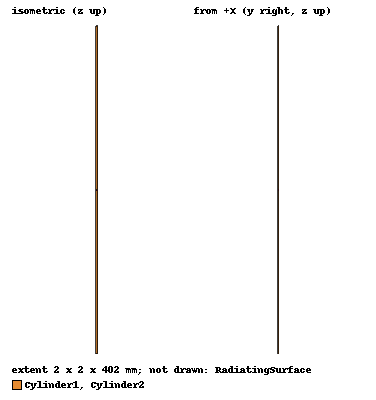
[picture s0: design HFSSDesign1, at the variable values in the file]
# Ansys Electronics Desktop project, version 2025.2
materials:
  vacuum: permittivity=1
  copper: permeability=0.999991 conductivity=58000000
  air: permittivity=1.0006 permeability=1.0000004

design HFSSDesign1 (HFSS, HFSS Terminal Network, model units mm)
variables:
  l = 200mm
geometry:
  Cylinder1 [copper] = cylinder(axis=Z, base_centre=(0mm, 0mm, 1mm), radius=1mm, height=l)
  Cylinder2 [copper] = cylinder(axis=Z, base_centre=(0mm, 0mm, -1mm), radius=1mm, height=-l)
  Rectangle1 = rectangle(corner=(-1mm, -1mm, 0mm), x_size=2mm, y_size=2mm)
  Rectangle1.rotate(axis=Y, angle=90deg)
  RadiatingSurface [vacuum] = region(absolute_offset=20mm on all sides)
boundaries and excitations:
  Open1: Radiation Objects=RadiatingSurface
  1: Lumped Port Objects=Rectangle1 LumpedPortType=Modal Modes{Mode1{IntLine{(0, 0, -1) -> (0, 0, 1)} CharImp=Zpi}} Impedance=50ohm
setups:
  Setup1: HfssDriven Frequency=5GHz MaxDeltaS=0.02 MaximumPasses=6 MinimumPasses=1 MinimumConvergedPasses=1 PercentRefinement=30 BasisOrder=1 PortAccuracy=2 DrivenSolverType="Direct Solver"
    sweep Sweep: 1GHz to 6GHz, 401 points; Type=Interpolating SaveFields InterpTolerance=0.5 InterpMaxSolns=250 PassivityErrorTolerance=0.0001
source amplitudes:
  1:1: 1V 0deg
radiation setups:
  3D: Infinite Sphere Theta=0deg..360deg step 2deg Phi=-180deg..180deg step 2deg
  Elevation: Infinite Sphere Theta=-180deg..180deg step 1deg Phi=0deg..90deg step 90deg
  Azimuth: Infinite Sphere Theta=90deg..90deg step 0deg Phi=-180deg..180deg step 1deg
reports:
  Gain Plot1: dB(GainTotal) vs Theta on Setup1 : LastAdaptive, 3D [Phi=0deg Freq=5GHz l=all]; dB(GainTotal) vs Phi on Setup1 : LastAdaptive, 3D [Theta=90deg Freq=5GHz l=all]
  Terminal S Parameter Plot1: dB(St(1,1)) vs Freq on Setup1 : Sweep [l=all]
  Directivity Plot1: dB(DirTotal) vs Freq on Setup1 : Sweep, 3D [Phi=0deg Theta=0deg l=all]
  Gain Plot2: dB(GainTotal) vs Phi, Theta on Setup1 : LastAdaptive, 3D [Freq=5GHz l=15mm]
  Gain Plot3: dB(GainTotal) vs Phi, Theta on Setup1 : LastAdaptive, 3D [Freq=5GHz l=15mm]
